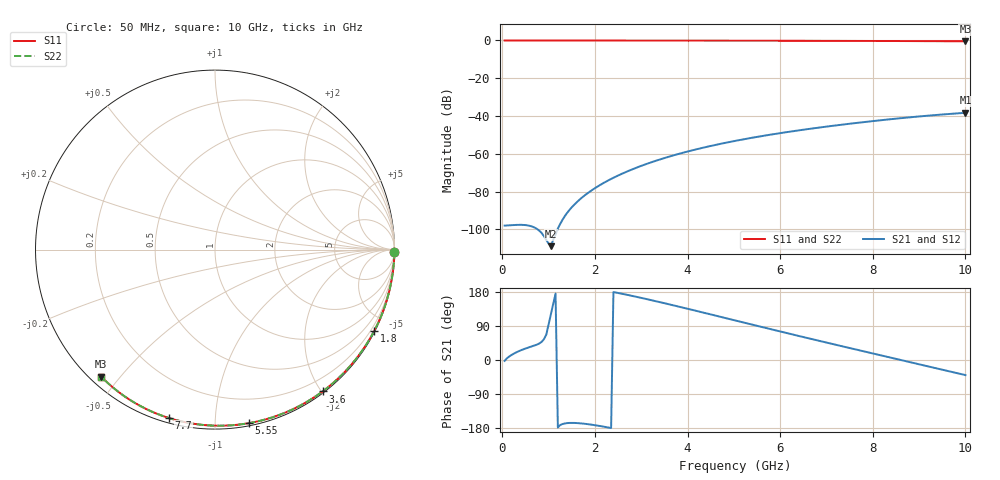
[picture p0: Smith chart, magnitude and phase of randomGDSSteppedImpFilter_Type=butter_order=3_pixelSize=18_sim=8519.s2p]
! freq	dB(S11)	phase(S11)	dB(S12)	phase(S12)
!  dB(S21)	phase(S21)	dB(S22)	phase(S22)
!S-par simulation data
#  GHz  S  DB  R 50
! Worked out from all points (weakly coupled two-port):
!   200 points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, 50 MHz to 10 GHz, reference 50 ohm
!   highest |S21| = -38.30 dB at 10 GHz (marker M1); lowest = -108.9 dB at 1.05 GHz (marker M2)
!   lowest |S11| = -0.4 dB at 10 GHz (marker M3), VSWR 39.14, Z = 1.53 - j22.3 ohm
!   |S11| at or under -10 dB: nowhere
!   |S22| runs from -0.4 to 0.0 dB; largest |S21 - S12| = 0
!   S11 on the Smith chart (normalised r, x): 50 MHz: open; 1.8 GHz: 0.04, -4.16; 3.6 GHz: 0.02, -2.01; 5.55 GHz: 0.02, -1.21; 7.7 GHz: 0.02, -0.76; 10 GHz: 0.03, -0.45
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0.05  -0.00 -0.8  -98.01 -2.4  -98.01 -2.4  -0.00 -0.8
0.55  -0.01 -8.4  -97.90 32.3  -97.90 32.3  -0.01 -8.4
1.05  -0.02 -15.9  -108.88 121.4  -108.88 121.4  -0.02 -15.9
1.75  -0.03 -26.3  -82.58 -167.9  -82.58 -167.9  -0.03 -26.3
1.8  -0.03 -27.0  -81.62 -168.6  -81.62 -168.6  -0.03 -27.0
1.9  -0.04 -28.5  -79.83 -170.2  -79.83 -170.2  -0.04 -28.5
2.05  -0.04 -30.7  -77.42 -173.0  -77.42 -173.0  -0.04 -30.7
2.25  -0.04 -33.6  -74.58 -177.2  -74.58 -177.2  -0.04 -33.6
2.45  -0.05 -36.5  -72.07 178.1  -72.07 178.1  -0.05 -36.5
2.65  -0.05 -39.4  -69.83 173.2  -69.83 173.2  -0.05 -39.4
3  -0.06 -44.4  -66.38 163.9  -66.38 163.9  -0.06 -44.4
3.4  -0.07 -50.0  -63.01 152.8  -63.01 152.8  -0.07 -50.0
3.6  -0.07 -52.8  -61.50 147.0  -61.50 147.0  -0.07 -52.8
4.3  -0.09 -62.4  -56.97 126.3  -56.97 126.3  -0.09 -62.4
5.05  -0.11 -72.4  -53.05 103.8  -53.05 103.8  -0.11 -72.4
5.55  -0.13 -78.9  -50.84 88.7  -50.84 88.7  -0.13 -78.9
6.1  -0.15 -85.9  -48.67 72.3  -48.67 72.3  -0.15 -85.9
6.7  -0.18 -93.3  -46.57 54.7  -46.57 54.7  -0.18 -93.3
7.7  -0.24 -105.4  -43.51 25.8  -43.51 25.8  -0.24 -105.4
8.35  -0.29 -113.0  -41.76 7.3  -41.76 7.3  -0.29 -113.0
9.15  -0.36 -122.2  -39.90 -15.6  -39.90 -15.6  -0.36 -122.2
10  -0.44 -131.8  -38.30 -39.8  -38.30 -39.8  -0.44 -131.8
